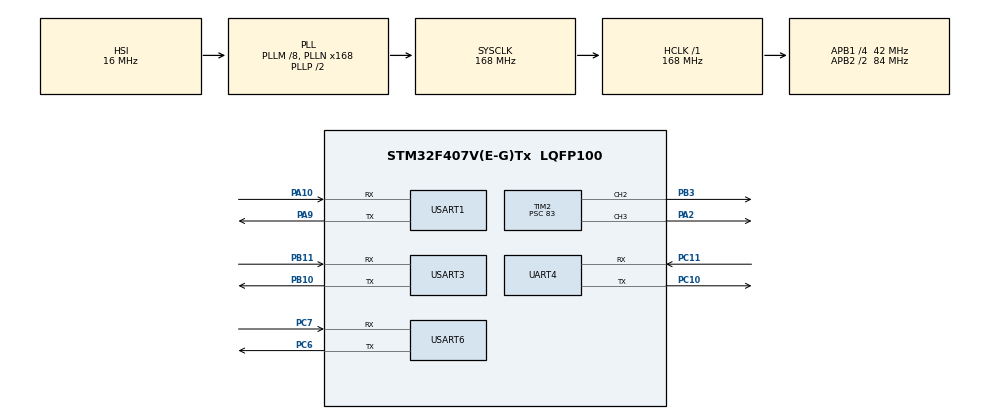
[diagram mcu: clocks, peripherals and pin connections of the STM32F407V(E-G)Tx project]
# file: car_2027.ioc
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Mcu.Family=STM32F4
Mcu.Name=STM32F407V(E-G)Tx
Mcu.Package=LQFP100
NVIC.PriorityGroup=NVIC_PRIORITYGROUP_4
PA10.Mode=Asynchronous
PA10.Signal=USART1_RX
PA13.Mode=Serial_Wire
PA13.Signal=SYS_JTMS-SWDIO
PA14.Mode=Serial_Wire
PA14.Signal=SYS_JTCK-SWCLK
PA2.Signal=S_TIM2_CH3
PA9.Mode=Asynchronous
PA9.Signal=USART1_TX
PB10.Mode=Asynchronous
PB10.Signal=USART3_TX
PB11.Mode=Asynchronous
PB11.Signal=USART3_RX
PB3.Signal=S_TIM2_CH2
PC10.Mode=Asynchronous
PC10.Signal=UART4_TX
PC11.Mode=Asynchronous
PC11.Signal=UART4_RX
PC6.Mode=Asynchronous
PC6.Signal=USART6_TX
PC7.Mode=Asynchronous
PC7.Signal=USART6_RX
ProjectManager.HeapSize=0x200
ProjectManager.StackSize=0x400
ProjectManager.TargetToolchain=MDK-ARM V5.32
RCC.48MHZClocksFreq_Value=84000000
RCC.AHBFreq_Value=168000000
RCC.APB1CLKDivider=RCC_HCLK_DIV4
RCC.APB1Freq_Value=42000000
RCC.APB1TimFreq_Value=84000000
RCC.APB2CLKDivider=RCC_HCLK_DIV2
RCC.APB2Freq_Value=84000000
RCC.APB2TimFreq_Value=168000000
RCC.CortexFreq_Value=168000000
RCC.HCLKFreq_Value=168000000
RCC.HSE_VALUE=25000000
RCC.HSI_VALUE=16000000
RCC.LSE_VALUE=32768
RCC.PLLM=8
RCC.PLLN=168
RCC.SYSCLKFreq_VALUE=168000000
RCC.SYSCLKSource=RCC_SYSCLKSOURCE_PLLCLK
RCC.VCOOutputFreq_Value=336000000
SH.S_TIM2_CH2.0=TIM2_CH2,PWM Generation2 CH2
SH.S_TIM2_CH3.0=TIM2_CH3,PWM Generation3 CH3
TIM2.Channel-PWM\ Generation2\ CH2=TIM_CHANNEL_2
TIM2.Channel-PWM\ Generation3\ CH3=TIM_CHANNEL_3
TIM2.Period=19999
TIM2.Prescaler=83
TIM2.Pulse-PWM\ Generation2\ CH2=1500
TIM2.Pulse-PWM\ Generation3\ CH3=1500
UART4.VirtualMode=Asynchronous
USART1.VirtualMode=VM_ASYNC
USART3.VirtualMode=VM_ASYNC
USART6.VirtualMode=VM_ASYNC
VP_TIM2_VS_ClockSourceINT.Mode=Internal
board=custom

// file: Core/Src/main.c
/* USER CODE BEGIN Header */
/**
  ******************************************************************************
  * @file           : main.c
  * @brief          : Main program body
  ******************************************************************************
  * @attention
  *
  * Copyright (c) 2026 STMicroelectronics.
  * All rights reserved.
  *
  * This software is licensed under terms that can be found in the LICENSE file
  * in the root directory of this software component.
  * If no LICENSE file comes with this software, it is provided AS-IS.
  *
  ******************************************************************************
  */
/* USER CODE END Header */
#include "main.h"

/* USER CODE BEGIN Includes */
#include "Emm_V5.h"
#include "fashion_star_uart_servo.h"
#include "usart1.h"
#include "chassis.h"
#include <stdio.h>
#include <string.h>
#include "hwt101.h"
#include "yaw_control.h"
/* USER CODE END Includes */

TIM_HandleTypeDef htim2;

UART_HandleTypeDef huart4;
UART_HandleTypeDef huart1;
UART_HandleTypeDef huart3;
UART_HandleTypeDef huart6;

/* USER CODE BEGIN PV */
float yaw_target;
float debug_yaw;
float yaw_error;
float yaw_correction;

volatile float hwt_test_yaw = 0.0f;
/* USER CODE END PV */

char yaw_msg[32];
uint32_t yaw_send_time = 0;
void SystemClock_Config(void);
static void MX_GPIO_Init(void);
static void MX_TIM2_Init(void);
static void MX_UART4_Init(void);
static void MX_USART6_UART_Init(void);
static void MX_USART3_UART_Init(void);
static void MX_USART1_UART_Init(void);

/* USER CODE BEGIN PFP */
void Servo2_MoveRelative(float delta_angle);
void Claw_Set(uint32_t pulse_us);
void Claw_Open(void);
void Claw_Close(void);
void Turntable_Set(uint32_t pulse_us);
void Turntable_GoTo(uint8_t slot);
void Servos_PWM_Test(void);
/* USER CODE END PFP */

int main(void)
{

  /* MCU Configuration--------------------------------------------------------*/

  /* Reset of all peripherals, Initializes the Flash interface and the Systick. */
  HAL_Init();

  /* Configure the system clock */
  SystemClock_Config();

  /* Initialize all configured peripherals */
MX_GPIO_Init();
MX_TIM2_Init();
MX_UART4_Init();
MX_USART6_UART_Init();
MX_USART3_UART_Init();
MX_USART1_UART_Init();
Usart_Init();

HWT101_Init();

/* 等待第一帧角度(最多2秒)，再记录初始方向；中断接收，不阻塞 */
{
    uint32_t t0 = HAL_GetTick();
    while (!HWT101_IsReady() && (HAL_GetTick() - t0) < 2000)
    {
    }
}
HWT101_ZeroSoft();
yaw_target = HWT101_GetYaw();

/* USER CODE BEGIN 2 */

/* TIM2: 1MHz计数, 周期20ms -> CCR 数值 = 脉宽(微秒)。
 * CH3=PA2 爪子舵机, CH2=PB3 转盘舵机。先写入安全位置再启动PWM，避免上电乱跳 */
Claw_Open();
Turntable_GoTo(1);
HAL_TIM_PWM_Start(&htim2, TIM_CHANNEL_3);
HAL_TIM_PWM_Start(&htim2, TIM_CHANNEL_2);
//Servos_PWM_Test();   /* 调试时取消注释：爪子开合、转盘依次转到1/2/3号位 */

//HAL_Delay(3000);

//Car_Forward(200,26200);

//HAL_Delay(3000);
//Car_Left_mm(40, 400.0f);

//HAL_Delay(1000);

//Servo2_MoveRelative(-30.0f);
//Emm_V5_En_Control(
//    5,
//    true,
//    false
//);
//
//HAL_Delay(100);
//Emm_V5_Pos_Control(
//    5,       // ID = 5
//    1,       // 方向
//    30,      // 速度
//    10,      // 加速度
//    300,// 移动量  ← 这里一定有逗号
//    0,       // 相对位置模式
//    true     // 等待同步启动
//);

//HAL_Delay(10);

//Emm_V5_Synchronous_motion(0x00);
//HAL_Delay(10);

//Emm_V5_Synchronous_motion(0x00);   // 真正启动运动

//HAL_Delay(5000);
//HWT101_Init();
//HAL_Delay(1000);

//Car_Left_mm(30, 500.0f);

//HAL_Delay(20000);

//Car_Stop();
///* 给小车足够时间自己完成位置运动 */
//HAL_Delay(20000);

//Car_Stop();

/* USER CODE END 2 */

  /* Infinite loop */
  /* USER CODE BEGIN WHILE */

while(1)
{
	static uint32_t last_send = 0;

	HWT101_Update();
	hwt_test_yaw = HWT101_GetYawContinuous();

	/* 每100ms通过USART3(PB10/PB11)发给树莓派，不控制电机 */
	if (HAL_GetTick() - last_send >= 100)
	{
		char msg[80];
		int n;

		last_send = HAL_GetTick();

		if (HWT101_IsFresh(500))
		{
			n = snprintf(msg, sizeof(msg),
			             "YAW100 %ld CONT100 %ld OK %lu BAD %lu\r\n",
			             (long)(HWT101_GetYaw() * 100.0f),
			             (long)(HWT101_GetYawContinuous() * 100.0f),
			             (unsigned long)hwt101_dbg.frames_ok,
			             (unsigned long)hwt101_dbg.frames_bad);
		}
		else
		{
			n = snprintf(msg, sizeof(msg), "NODATA HWT101\r\n");
		}

		HAL_UART_Transmit(&huart3, (uint8_t *)msg, n, 100);
	}
}
}

void SystemClock_Config(void)
{
  RCC_OscInitTypeDef RCC_OscInitStruct = {0};
  RCC_ClkInitTypeDef RCC_ClkInitStruct = {0};

  /** Configure the main internal regulator output voltage
  */
  __HAL_RCC_PWR_CLK_ENABLE();
  __HAL_PWR_VOLTAGESCALING_CONFIG(PWR_REGULATOR_VOLTAGE_SCALE1);

  /** Initializes the RCC Oscillators according to the specified parameters
  * in the RCC_OscInitTypeDef structure.
  */
  RCC_OscInitStruct.OscillatorType = RCC_OSCILLATORTYPE_HSI;
  RCC_OscInitStruct.HSIState = RCC_HSI_ON;
  RCC_OscInitStruct.HSICalibrationValue = RCC_HSICALIBRATION_DEFAULT;
  RCC_OscInitStruct.PLL.PLLState = RCC_PLL_ON;
  RCC_OscInitStruct.PLL.PLLSource = RCC_PLLSOURCE_HSI;
  RCC_OscInitStruct.PLL.PLLM = 8;
  RCC_OscInitStruct.PLL.PLLN = 168;
  RCC_OscInitStruct.PLL.PLLP = RCC_PLLP_DIV2;
  RCC_OscInitStruct.PLL.PLLQ = 4;
  if (HAL_RCC_OscConfig(&RCC_OscInitStruct) != HAL_OK)
  {
    Error_Handler();
  }

  /** Initializes the CPU, AHB and APB buses clocks
  */
  RCC_ClkInitStruct.ClockType = RCC_CLOCKTYPE_HCLK|RCC_CLOCKTYPE_SYSCLK
                              |RCC_CLOCKTYPE_PCLK1|RCC_CLOCKTYPE_PCLK2;
  RCC_ClkInitStruct.SYSCLKSource = RCC_SYSCLKSOURCE_PLLCLK;
  RCC_ClkInitStruct.AHBCLKDivider = RCC_SYSCLK_DIV1;
  RCC_ClkInitStruct.APB1CLKDivider = RCC_HCLK_DIV4;
  RCC_ClkInitStruct.APB2CLKDivider = RCC_HCLK_DIV2;

  if (HAL_RCC_ClockConfig(&RCC_ClkInitStruct, FLASH_LATENCY_5) != HAL_OK)
  {
    Error_Handler();
  }
}

static void MX_TIM2_Init(void)
{

  TIM_ClockConfigTypeDef sClockSourceConfig = {0};
  TIM_MasterConfigTypeDef sMasterConfig = {0};
  TIM_OC_InitTypeDef sConfigOC = {0};

  htim2.Instance = TIM2;
  htim2.Init.Prescaler = 83;
  htim2.Init.CounterMode = TIM_COUNTERMODE_UP;
  htim2.Init.Period = 19999;
  htim2.Init.ClockDivision = TIM_CLOCKDIVISION_DIV1;
  htim2.Init.AutoReloadPreload = TIM_AUTORELOAD_PRELOAD_DISABLE;
  if (HAL_TIM_Base_Init(&htim2) != HAL_OK)
  {
    Error_Handler();
  }
  sClockSourceConfig.ClockSource = TIM_CLOCKSOURCE_INTERNAL;
  if (HAL_TIM_ConfigClockSource(&htim2, &sClockSourceConfig) != HAL_OK)
  {
    Error_Handler();
  }
  if (HAL_TIM_PWM_Init(&htim2) != HAL_OK)
  {
    Error_Handler();
  }
  sMasterConfig.MasterOutputTrigger = TIM_TRGO_RESET;
  sMasterConfig.MasterSlaveMode = TIM_MASTERSLAVEMODE_DISABLE;
  if (HAL_TIMEx_MasterConfigSynchronization(&htim2, &sMasterConfig) != HAL_OK)
  {
    Error_Handler();
  }
  sConfigOC.OCMode = TIM_OCMODE_PWM1;
  sConfigOC.Pulse = 1500;
  sConfigOC.OCPolarity = TIM_OCPOLARITY_HIGH;
  sConfigOC.OCFastMode = TIM_OCFAST_DISABLE;
  if (HAL_TIM_PWM_ConfigChannel(&htim2, &sConfigOC, TIM_CHANNEL_2) != HAL_OK)
  {
    Error_Handler();
  }
  if (HAL_TIM_PWM_ConfigChannel(&htim2, &sConfigOC, TIM_CHANNEL_3) != HAL_OK)
  {
    Error_Handler();
  }
  HAL_TIM_MspPostInit(&htim2);

}

static void MX_UART4_Init(void)
{

  huart4.Instance = UART4;
  huart4.Init.BaudRate = 115200;
  huart4.Init.WordLength = UART_WORDLENGTH_8B;
  huart4.Init.StopBits = UART_STOPBITS_1;
  huart4.Init.Parity = UART_PARITY_NONE;
  huart4.Init.Mode = UART_MODE_TX_RX;
  huart4.Init.HwFlowCtl = UART_HWCONTROL_NONE;
  huart4.Init.OverSampling = UART_OVERSAMPLING_16;
  if (HAL_UART_Init(&huart4) != HAL_OK)
  {
    Error_Handler();
  }

}

static void MX_USART1_UART_Init(void)
{

  huart1.Instance = USART1;
  huart1.Init.BaudRate = 115200;
  huart1.Init.WordLength = UART_WORDLENGTH_8B;
  huart1.Init.StopBits = UART_STOPBITS_1;
  huart1.Init.Parity = UART_PARITY_NONE;
  huart1.Init.Mode = UART_MODE_TX_RX;
  huart1.Init.HwFlowCtl = UART_HWCONTROL_NONE;
  huart1.Init.OverSampling = UART_OVERSAMPLING_16;
  if (HAL_UART_Init(&huart1) != HAL_OK)
  {
    Error_Handler();
  }

}

static void MX_USART3_UART_Init(void)
{

  huart3.Instance = USART3;
  huart3.Init.BaudRate = 115200;
  huart3.Init.WordLength = UART_WORDLENGTH_8B;
  huart3.Init.StopBits = UART_STOPBITS_1;
  huart3.Init.Parity = UART_PARITY_NONE;
  huart3.Init.Mode = UART_MODE_TX_RX;
  huart3.Init.HwFlowCtl = UART_HWCONTROL_NONE;
  huart3.Init.OverSampling = UART_OVERSAMPLING_16;
  if (HAL_UART_Init(&huart3) != HAL_OK)
  {
    Error_Handler();
  }

}

static void MX_USART6_UART_Init(void)
{

  huart6.Instance = USART6;
  huart6.Init.BaudRate = 115200;
  huart6.Init.WordLength = UART_WORDLENGTH_8B;
  huart6.Init.StopBits = UART_STOPBITS_1;
  huart6.Init.Parity = UART_PARITY_NONE;
  huart6.Init.Mode = UART_MODE_TX_RX;
  huart6.Init.HwFlowCtl = UART_HWCONTROL_NONE;
  huart6.Init.OverSampling = UART_OVERSAMPLING_16;
  if (HAL_UART_Init(&huart6) != HAL_OK)
  {
    Error_Handler();
  }

}

static void MX_GPIO_Init(void)
{

  /* GPIO Ports Clock Enable */
  __HAL_RCC_GPIOA_CLK_ENABLE();
  __HAL_RCC_GPIOB_CLK_ENABLE();
  __HAL_RCC_GPIOC_CLK_ENABLE();

}

/* USER CODE BEGIN 4 */

/* ---- PWM 舵机(数值沿用上一届工程，需要在新车上重新标定) ---- */
#define CLAW_OPEN_US        2090u   /* 松开 */
#define CLAW_CLOSE_US       2910u   /* 夹紧 */
#define CLAW_MIN_US         1700u   /* 机械限位，别超出 */
#define CLAW_MAX_US         2910u
#define TURNTABLE_SLOT1_US  2608u   /* 转盘 1 号位 */
#define TURNTABLE_STEP_US   900u    /* 相邻位置差 */
#define TURNTABLE_MIN_US    500u
#define TURNTABLE_MAX_US    2608u

void Claw_Set(uint32_t pulse_us)
{
    if (pulse_us < CLAW_MIN_US) pulse_us = CLAW_MIN_US;
    if (pulse_us > CLAW_MAX_US) pulse_us = CLAW_MAX_US;
    __HAL_TIM_SET_COMPARE(&htim2, TIM_CHANNEL_3, pulse_us);
}

void Claw_Open(void)  { Claw_Set(CLAW_OPEN_US); }
void Claw_Close(void) { Claw_Set(CLAW_CLOSE_US); }

void Turntable_Set(uint32_t pulse_us)
{
    if (pulse_us < TURNTABLE_MIN_US) pulse_us = TURNTABLE_MIN_US;
    if (pulse_us > TURNTABLE_MAX_US) pulse_us = TURNTABLE_MAX_US;
    __HAL_TIM_SET_COMPARE(&htim2, TIM_CHANNEL_2, pulse_us);
}

/* slot = 1/2/3 */
void Turntable_GoTo(uint8_t slot)
{
    if (slot < 1) slot = 1;
    if (slot > 3) slot = 3;
    Turntable_Set(TURNTABLE_SLOT1_US - (uint32_t)(slot - 1) * TURNTABLE_STEP_US);
}

void Servos_PWM_Test(void)
{
    uint8_t i;

    Claw_Open();
    HAL_Delay(1000);
    Claw_Close();
    HAL_Delay(1000);
    Claw_Open();
    HAL_Delay(1000);

    for (i = 1; i <= 3; i++)
    {
        Turntable_GoTo(i);
        HAL_Delay(1500);
    }
    Turntable_GoTo(1);
}

void Servo2_MoveRelative(float delta_angle)
{
    float current_angle = 0.0f;
    float target_angle = 100.0f;

    FSUS_QueryServoAngleMTurn(
        &usart2,
        2,
        &current_angle
    );

    target_angle = current_angle + delta_angle;

    FSUS_SetServoAngleMTurnByVelocity(
        &usart2,
        2,
        target_angle,
        50.0f,
        50,
        50,
        0,
        1
    );
}

void UART4_SendByte(uint8_t Byte)
{
    HAL_UART_Transmit(&huart4, &Byte, 1, 1000);
}

void UART4_SendArray(uint8_t *Array, uint16_t Length)
{
    uint16_t i;

    for (i = 0; i < Length; i++)
    {
        UART4_SendByte(Array[i]);
    }
}
/* USER CODE END 4 */

void Error_Handler(void)
{
  __disable_irq();
  while (1)
  {
  }
}
